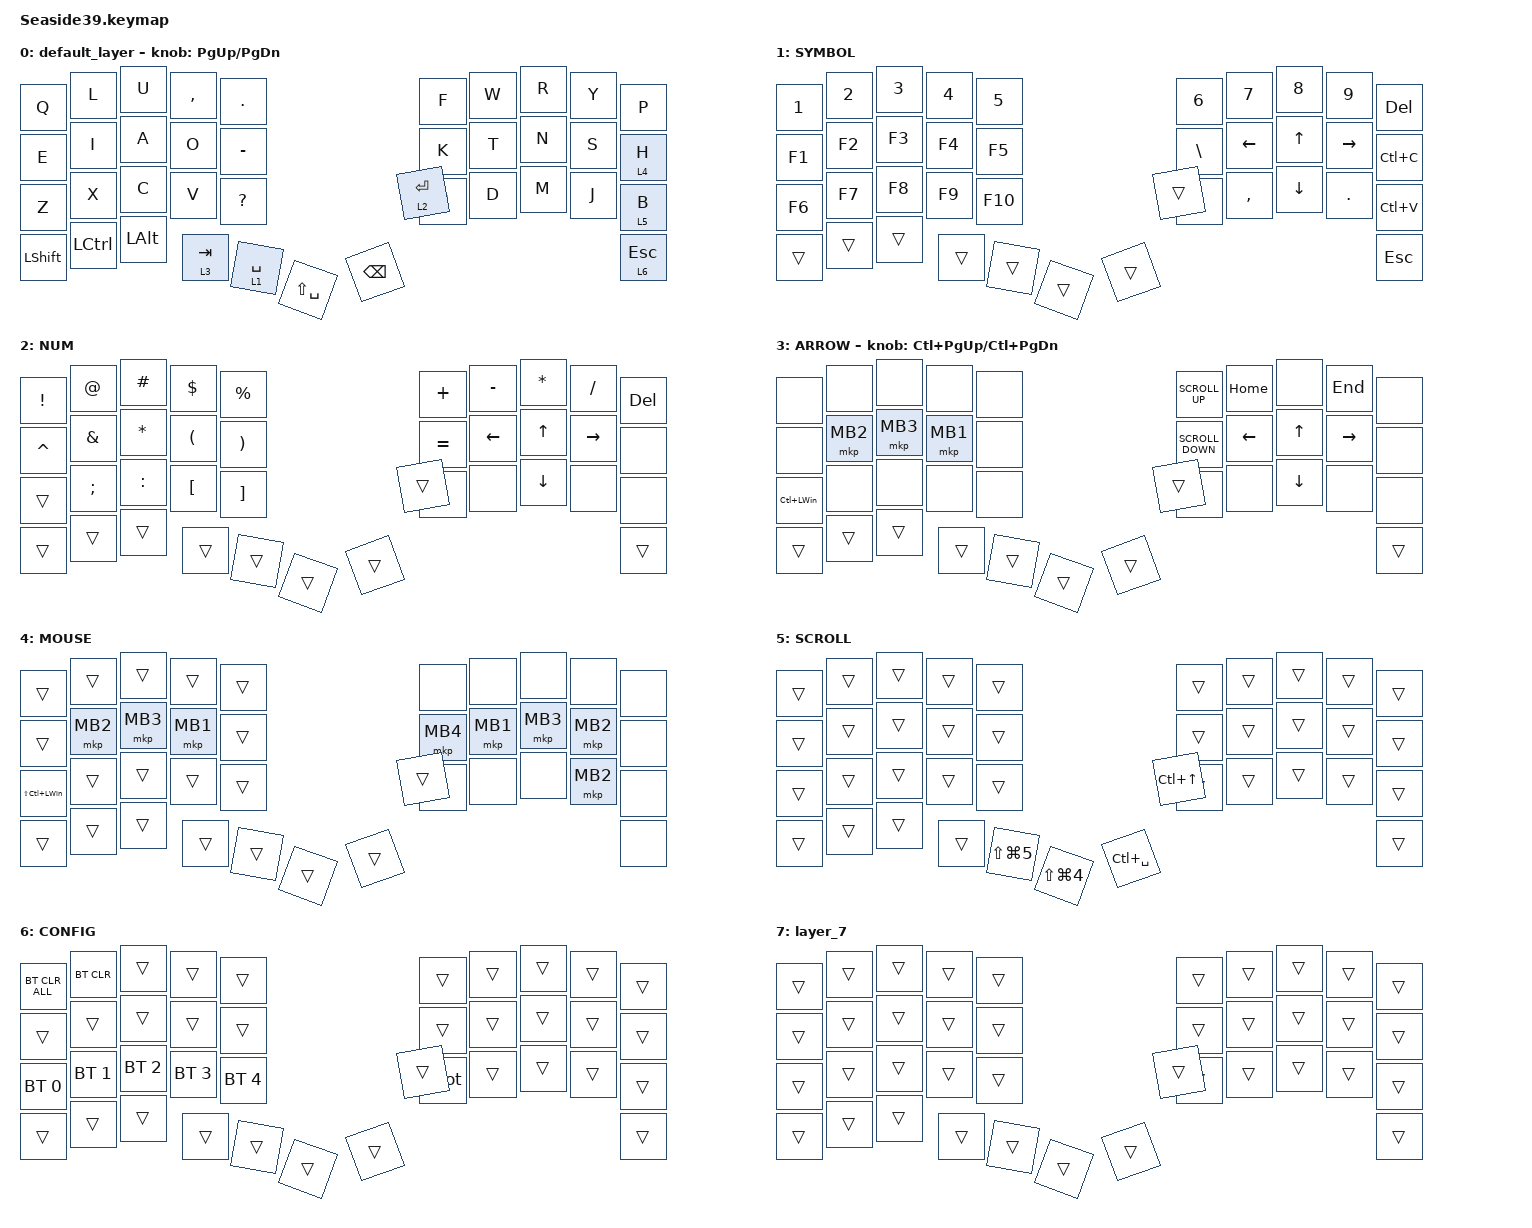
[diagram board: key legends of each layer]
#include <behaviors.dtsi>
#include <dt-bindings/zmk/bt.h>
#include <dt-bindings/zmk/keys.h>
#include <dt-bindings/zmk/pointing.h>

#define MOUSE 4
#define SCROLL 5
#define NUM 6

&mt {
    flavor = "balanced";
    quick-tap-ms = <300>;
};

&lt {
    flavor = "balanced";
    quick-tap-ms = <300>;
};

/ {
    combos { compatible = "zmk,combos"; };

    macros {
        to_layer_0: to_layer_0 {
            compatible = "zmk,behavior-macro-one-param";
            #binding-cells = <1>;
            bindings = <&to 0 &macro_param_1to1 &kp MACRO_PLACEHOLDER>;
            label = "TO_LAYER_0";
        };

        mkp_exit_AML: mkp_exit_AML {
            compatible = "zmk,behavior-macro-one-param";
            #binding-cells = <1>;
            bindings =
                <&macro_press>,
                <&macro_param_1to1 &mkp MACRO_PLACEHOLDER>,
                <&macro_pause_for_release>,
                <&macro_release>,
                <&macro_param_1to1 &mkp MACRO_PLACEHOLDER>,
                <&macro_tap>,
                <&sl 4>;

            label = "MKP_EXIT_AML";
        };
    };

    behaviors {
        lt_to_layer_0: lt_to_layer_0 {
            compatible = "zmk,behavior-hold-tap";
            label = "LAYER_TAP_TO_0";
            bindings = <&mo>, <&to_layer_0>;

            #binding-cells = <2>;
            tapping-term-ms = <200>;
        };
    };

    keymap {
        compatible = "zmk,keymap";

        default_layer {
            bindings = <
&kp Q           &kp L      &kp U         &kp COMMA  &kp PERIOD                                      &kp F        &kp W  &kp R  &kp Y  &kp P
&kp E           &kp I      &kp A         &kp O      &kp MINUS                                       &kp K        &kp T  &kp N  &kp S  &lt 4 H
&kp Z           &kp X      &kp C         &kp V      &kp QUESTION                                    &kp G        &kp D  &kp M  &kp J  &lt 5 B
&kp LEFT_SHIFT  &kp LCTRL  &kp LEFT_ALT  &lt 3 TAB  &lt 1 SPACE   &kp LS(SPACE)      &kp BACKSPACE  &lt 2 ENTER                       &lt 6 ESCAPE
            >;

            sensor-bindings = <&inc_dec_kp PG_UP PAGE_DOWN>;
        };

        SYMBOL {
            bindings = <
&kp NUMBER_1  &kp NUMBER_2  &kp NUMBER_3  &kp NUMBER_4  &kp NUMBER_5                      &kp NUMBER_6   &kp NUMBER_7    &kp NUMBER_8    &kp NUMBER_9     &kp DEL
&kp F1        &kp F2        &kp F3        &kp F4        &kp F5                            &kp BACKSLASH  &kp LEFT_ARROW  &kp UP_ARROW    &kp RIGHT_ARROW  &kp LC(C)
&kp F6        &kp F7        &kp F8        &kp F9        &kp F10                           &kp NUMBER_0   &kp COMMA       &kp DOWN_ARROW  &kp PERIOD       &kp LC(V)
&trans        &trans        &trans        &trans        &trans        &trans      &trans  &trans                                                          &kp ESC
            >;
        };

        NUM {
            bindings = <
&kp EXCLAMATION  &kp AT_SIGN    &kp HASH      &kp DOLLAR            &kp PERCENT                                &kp PLUS   &kp MINUS       &kp ASTERISK    &kp SLASH        &kp DEL
&kp CARET        &kp AMPERSAND  &kp ASTERISK  &kp LEFT_PARENTHESIS  &kp RIGHT_PARENTHESIS                      &kp EQUAL  &kp LEFT_ARROW  &kp UP_ARROW    &kp RIGHT_ARROW  &none
&trans           &kp SEMICOLON  &kp COLON     &kp LEFT_BRACKET      &kp RIGHT_BRACKET                          &none      &none           &kp DOWN_ARROW  &none            &none
&trans           &trans         &trans        &trans                &trans                 &trans      &trans  &trans                                                      &trans
            >;
        };

        ARROW {
            bindings = <
&none             &none     &none     &none     &none                       &kp K_SCROLL_UP    &kp HOME        &none           &kp END          &none
&none             &mkp MB2  &mkp MB3  &mkp MB1  &none                       &kp K_SCROLL_DOWN  &kp LEFT_ARROW  &kp UP_ARROW    &kp RIGHT_ARROW  &none
&kp LC(LEFT_WIN)  &none     &none     &none     &none                       &none              &none           &kp DOWN_ARROW  &none            &none
&trans            &trans    &trans    &trans    &trans  &trans      &trans  &trans                                                              &trans
            >;

            sensor-bindings = <&inc_dec_kp LC(PAGE_UP) LC(PAGE_DOWN)>;
        };

        MOUSE {
            bindings = <
&trans                &trans    &trans    &trans    &trans                      &none     &none     &none     &none     &none
&trans                &mkp MB2  &mkp MB3  &mkp MB1  &trans                      &mkp MB4  &mkp MB1  &mkp MB3  &mkp MB2  &none
&kp LS(LC(LEFT_WIN))  &trans    &trans    &trans    &trans                      &none     &none     &none     &mkp MB2  &none
&trans                &trans    &trans    &trans    &trans  &trans      &trans  &trans                                  &none
            >;
        };

        SCROLL {
            bindings = <
&trans  &trans  &trans  &trans  &trans                                             &trans            &trans  &trans  &trans  &trans
&trans  &trans  &trans  &trans  &trans                                             &trans            &trans  &trans  &trans  &trans
&trans  &trans  &trans  &trans  &trans                                             &trans            &trans  &trans  &trans  &trans
&trans  &trans  &trans  &trans  &kp LS(LG(N5))  &kp LS(LG(N4))      &kp LC(SPACE)  &kp LC(UP_ARROW)                          &trans
            >;
        };

        CONFIG {
            bindings = <
&bt BT_CLR_ALL  &bt BT_CLR    &trans        &trans        &trans                            &trans       &trans  &trans  &trans  &trans
&trans          &trans        &trans        &trans        &trans                            &trans       &trans  &trans  &trans  &trans
&bt BT_SEL 0    &bt BT_SEL 1  &bt BT_SEL 2  &bt BT_SEL 3  &bt BT_SEL 4                      &bootloader  &trans  &trans  &trans  &trans
&trans          &trans        &trans        &trans        &trans        &trans      &trans  &trans                               &trans
            >;
        };

        layer_7 {
            bindings = <
&trans  &trans  &trans  &trans  &trans                      &trans  &trans  &trans  &trans  &trans
&trans  &trans  &trans  &trans  &trans                      &trans  &trans  &trans  &trans  &trans
&trans  &trans  &trans  &trans  &trans                      &trans  &trans  &trans  &trans  &trans
&trans  &trans  &trans  &trans  &trans  &trans      &trans  &trans                          &trans
            >;
        };
    };
};
